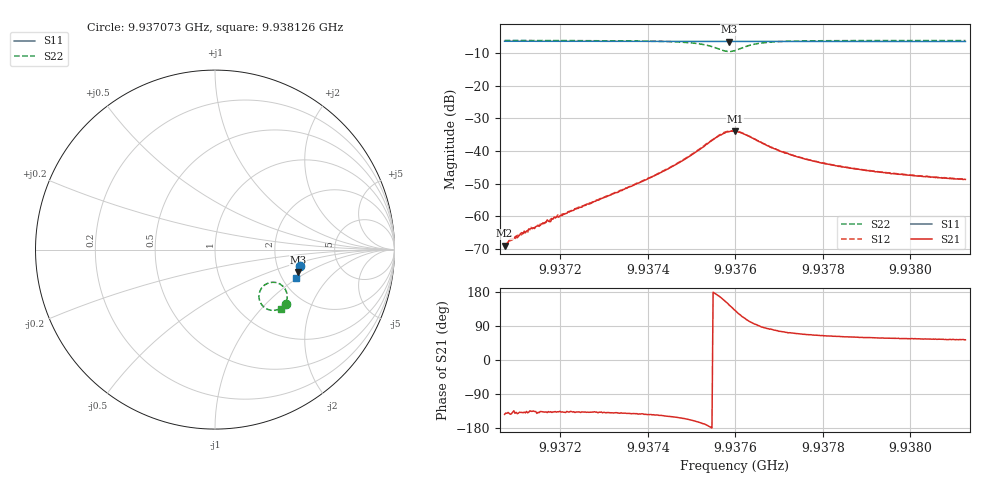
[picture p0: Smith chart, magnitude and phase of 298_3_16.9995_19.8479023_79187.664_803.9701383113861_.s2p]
#  HZ  S  RI  R  50.00
! Rohde & Schwarz Vector Network Analyzer
! Rohde-Schwarz,ZNB20-2Port,1311601062101988,3.16
! Created: UTC 3/20/2024, 11:05:24 PM
! freq[Hz]  re:S11  im:S11  re:S21  im:S21  re:S12  im:S12  re:S22  im:S22
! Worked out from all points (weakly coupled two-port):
!   401 points, 9.937073 GHz to 9.938126 GHz, reference 50 ohm
!   highest |S21| = -33.90 dB at 9.937599 GHz (marker M1); lowest = -69.1 dB at 9.937073 GHz (marker M2)
!   lowest |S11| = -6.4 dB at 9.937586 GHz (marker M3), VSWR 2.84, Z = 127 - j41.3 ohm
!   |S11| at or under -10 dB: nowhere
!   |S22| runs from -9.5 to -6.1 dB; largest |S21 - S12| = 0.00095
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9.937073e9  0.4754 -0.0925  -0.000283 -0.00021  -0.000268 -0.00022  0.3946 -0.3038
9.9370888e9  0.4752 -0.0936  -0.000347 -0.000275  -0.000324 -0.000275  0.3938 -0.3053
9.9371283e9  0.4746 -0.0963  -0.000464 -0.000424  -0.000475 -0.000428  0.3907 -0.3079
9.9371783e9  0.4735 -0.0997  -0.000599 -0.000572  -0.000667 -0.000605  0.3866 -0.3118
9.9371862e9  0.4734 -0.1003  -0.000708 -0.000665  -0.000665 -0.000605  0.3861 -0.3125
9.937194e9  0.4733 -0.1007  -0.000714 -0.000677  -0.000773 -0.000699  0.3854 -0.3131
9.9372493e9  0.4722 -0.1047  -0.001 -0.000936  -0.00104 -0.000961  0.3798 -0.3176
9.9373361e9  0.4704 -0.1104  -0.00189 -0.00155  -0.00193 -0.00156  0.3684 -0.3256
9.9374256e9  0.4684 -0.1165  -0.00375 -0.00251  -0.00384 -0.00251  0.3476 -0.3352
9.9374809e9  0.467 -0.1202  -0.00649 -0.00313  -0.00669 -0.0031  0.3222 -0.3388
9.9375282e9  0.4655 -0.1233  -0.0115 -0.00235  -0.0119 -0.00206  0.2805 -0.326
9.9375598e9  0.4638 -0.1249  -0.0164 0.00259  -0.0166 0.00301  0.2477 -0.2806
9.9375756e9  0.4635 -0.1254  -0.0172 0.00755  -0.0176 0.00835  0.2477 -0.2397
9.9375861e9  0.4631 -0.1255  -0.0162 0.0114  -0.0164 0.0121  0.2617 -0.2117
9.9375993e9  0.4632 -0.1259  -0.0133 0.0152  -0.0128 0.0159  0.2932 -0.1879
9.9376282e9  0.4636 -0.1274  -0.00438 0.0166  -0.00399 0.0168  0.3631 -0.1924
9.9376572e9  0.4634 -0.1295  0.0003 0.0138  0.000573 0.0137  0.3932 -0.2244
9.9377072e9  0.4628 -0.1332  0.00256 0.00936  0.00278 0.00948  0.4023 -0.2637
9.9377756e9  0.4614 -0.1381  0.00289 0.00647  0.00301 0.00649  0.397 -0.2903
9.9378387e9  0.4598 -0.1424  0.00273 0.00514  0.00289 0.00512  0.3909 -0.304
9.9379519e9  0.457 -0.1498  0.00248 0.00386  0.00255 0.00385  0.3813 -0.3189
9.9381255e9  0.4525 -0.1608  0.00219 0.00294  0.00223 0.00293  0.3686 -0.3337
